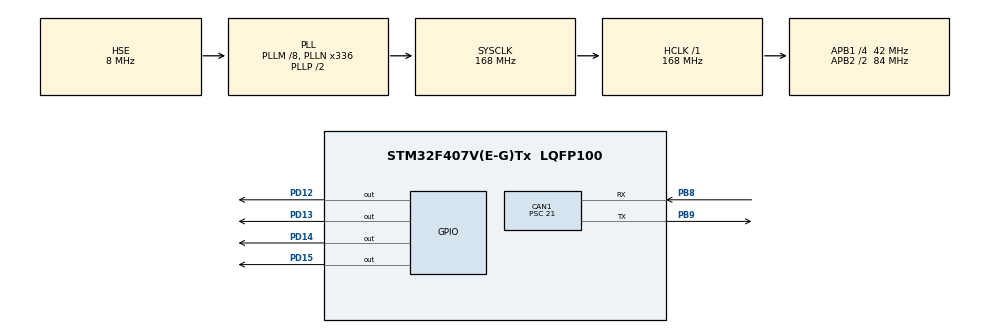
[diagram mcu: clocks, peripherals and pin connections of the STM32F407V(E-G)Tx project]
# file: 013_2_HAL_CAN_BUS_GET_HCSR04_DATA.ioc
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CAN1.BS1=CAN_BS1_10TQ
CAN1.BS2=CAN_BS2_5TQ
CAN1.CalculateBaudRate=125000
CAN1.CalculateTimeBit=8000
CAN1.CalculateTimeQuantum=500.0
CAN1.Prescaler=21
Mcu.Family=STM32F4
Mcu.Name=STM32F407V(E-G)Tx
Mcu.Package=LQFP100
NVIC.CAN1_RX0_IRQn=true\:0\:0\:false\:false\:true\:true\:true\:true
NVIC.PriorityGroup=NVIC_PRIORITYGROUP_0
PA13.Mode=Serial_Wire
PA13.Signal=SYS_JTMS-SWDIO
PA14.Mode=Serial_Wire
PA14.Signal=SYS_JTCK-SWCLK
PB8.Mode=CAN_Activate
PB8.Signal=CAN1_RX
PB9.Mode=CAN_Activate
PB9.Signal=CAN1_TX
PD12.Signal=GPIO_Output
PD13.Signal=GPIO_Output
PD14.Signal=GPIO_Output
PD15.Signal=GPIO_Output
PH0-OSC_IN.Mode=HSE-External-Oscillator
PH0-OSC_IN.Signal=RCC_OSC_IN
PH1-OSC_OUT.Mode=HSE-External-Oscillator
PH1-OSC_OUT.Signal=RCC_OSC_OUT
ProjectManager.HeapSize=0x200
ProjectManager.StackSize=0x400
ProjectManager.TargetToolchain=STM32CubeIDE
RCC.48MHZClocksFreq_Value=48000000
RCC.AHBFreq_Value=168000000
RCC.APB1CLKDivider=RCC_HCLK_DIV4
RCC.APB1Freq_Value=42000000
RCC.APB1TimFreq_Value=84000000
RCC.APB2CLKDivider=RCC_HCLK_DIV2
RCC.APB2Freq_Value=84000000
RCC.APB2TimFreq_Value=168000000
RCC.CortexFreq_Value=168000000
RCC.HCLKFreq_Value=168000000
RCC.HSE_VALUE=8000000
RCC.HSI_VALUE=16000000
RCC.LSE_VALUE=32768
RCC.PLLM=8
RCC.PLLN=336
RCC.PLLQ=7
RCC.PLLSourceVirtual=RCC_PLLSOURCE_HSE
RCC.SYSCLKFreq_VALUE=168000000
RCC.SYSCLKSource=RCC_SYSCLKSOURCE_PLLCLK
RCC.VCOOutputFreq_Value=336000000
board=STM32F407G-DISC1

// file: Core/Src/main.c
/* USER CODE BEGIN Header */
/**
  ******************************************************************************
  * @file           : main.c
  * @brief          : Main program body
  ******************************************************************************
  * @attention
  *
  * Copyright (c) 2024 STMicroelectronics.
  * All rights reserved.
  *
  * This software is licensed under terms that can be found in the LICENSE file
  * in the root directory of this software component.
  * If no LICENSE file comes with this software, it is provided AS-IS.
  *
  ******************************************************************************
  */
/* USER CODE END Header */
#include "main.h"

CAN_HandleTypeDef hcan1;

/* USER CODE BEGIN PV */
CAN_TxHeaderTypeDef pHeader;
CAN_RxHeaderTypeDef pRxHeader;
CAN_FilterTypeDef sFilterConfig;
uint8_t hcsr_data;
/* USER CODE END PV */

void SystemClock_Config(void);
static void MX_GPIO_Init(void);
static void MX_CAN1_Init(void);

int main(void)
{

  /* MCU Configuration--------------------------------------------------------*/

  /* Reset of all peripherals, Initializes the Flash interface and the Systick. */
  HAL_Init();

  /* Configure the system clock */
  SystemClock_Config();

  /* Initialize all configured peripherals */
  MX_GPIO_Init();
  MX_CAN1_Init();
  /* USER CODE BEGIN 2 */
  pHeader.DLC = 1;
  pHeader.IDE = CAN_ID_EXT;
  pHeader.RTR = CAN_RTR_DATA;
  pHeader.ExtId = 0x00000002;

  // Set Filter Parameters
   sFilterConfig.FilterActivation = ENABLE;
   sFilterConfig.FilterBank = 0;
   sFilterConfig.FilterFIFOAssignment = CAN_FILTER_FIFO0;
   sFilterConfig.FilterIdHigh = 0x0AF09876 >> 13;
   sFilterConfig.FilterIdLow = 0x0000;
   sFilterConfig.FilterMaskIdHigh = 0xFFFFFFFF >> 13;
   sFilterConfig.FilterMaskIdLow = 0x0000;
   sFilterConfig.FilterMode = CAN_FILTERMODE_IDMASK;
   sFilterConfig.FilterScale = CAN_FILTERSCALE_32BIT;

   HAL_CAN_ConfigFilter(&hcan1, &sFilterConfig);

  HAL_CAN_Start(&hcan1);
  HAL_CAN_ActivateNotification(&hcan1, CAN_IT_RX_FIFO0_MSG_PENDING);
  /* USER CODE END 2 */

  /* Infinite loop */
  while (1)
  {

    /* USER CODE BEGIN 3 */
	  if(hcsr_data > 6 && hcsr_data < 12)
	  {
		  HAL_GPIO_WritePin(GPIOD, GPIO_PIN_12, GPIO_PIN_SET);
		  HAL_GPIO_WritePin(GPIOD, GPIO_PIN_13 | GPIO_PIN_14 | GPIO_PIN_15 , GPIO_PIN_RESET);
	  }
	  else if(hcsr_data > 12 && hcsr_data < 18)
	  {
		  HAL_GPIO_WritePin(GPIOD, GPIO_PIN_12 | GPIO_PIN_13, GPIO_PIN_SET);
		  HAL_GPIO_WritePin(GPIOD, GPIO_PIN_14 | GPIO_PIN_15 , GPIO_PIN_RESET);
	  }
	  else if(hcsr_data > 18 && hcsr_data < 24)
	  {
		  HAL_GPIO_WritePin(GPIOD, GPIO_PIN_12 | GPIO_PIN_13 | GPIO_PIN_14 , GPIO_PIN_SET);
		  HAL_GPIO_WritePin(GPIOD, GPIO_PIN_15 , GPIO_PIN_RESET);
	  }
	  else if(hcsr_data > 24)
	  {
		  HAL_GPIO_WritePin(GPIOD, GPIO_PIN_12 | GPIO_PIN_13 | GPIO_PIN_14 | GPIO_PIN_15 , GPIO_PIN_SET);
	  }
	  else
		  HAL_GPIO_WritePin(GPIOD, GPIO_PIN_12 | GPIO_PIN_13 | GPIO_PIN_14 | GPIO_PIN_15 , GPIO_PIN_RESET);
  }
  /* USER CODE END 3 */
}

void SystemClock_Config(void)
{
  RCC_OscInitTypeDef RCC_OscInitStruct = {0};
  RCC_ClkInitTypeDef RCC_ClkInitStruct = {0};

  /** Configure the main internal regulator output voltage
  */
  __HAL_RCC_PWR_CLK_ENABLE();
  __HAL_PWR_VOLTAGESCALING_CONFIG(PWR_REGULATOR_VOLTAGE_SCALE1);

  /** Initializes the RCC Oscillators according to the specified parameters
  * in the RCC_OscInitTypeDef structure.
  */
  RCC_OscInitStruct.OscillatorType = RCC_OSCILLATORTYPE_HSE;
  RCC_OscInitStruct.HSEState = RCC_HSE_ON;
  RCC_OscInitStruct.PLL.PLLState = RCC_PLL_ON;
  RCC_OscInitStruct.PLL.PLLSource = RCC_PLLSOURCE_HSE;
  RCC_OscInitStruct.PLL.PLLM = 8;
  RCC_OscInitStruct.PLL.PLLN = 336;
  RCC_OscInitStruct.PLL.PLLP = RCC_PLLP_DIV2;
  RCC_OscInitStruct.PLL.PLLQ = 7;
  if (HAL_RCC_OscConfig(&RCC_OscInitStruct) != HAL_OK)
  {
    Error_Handler();
  }

  /** Initializes the CPU, AHB and APB buses clocks
  */
  RCC_ClkInitStruct.ClockType = RCC_CLOCKTYPE_HCLK|RCC_CLOCKTYPE_SYSCLK
                              |RCC_CLOCKTYPE_PCLK1|RCC_CLOCKTYPE_PCLK2;
  RCC_ClkInitStruct.SYSCLKSource = RCC_SYSCLKSOURCE_PLLCLK;
  RCC_ClkInitStruct.AHBCLKDivider = RCC_SYSCLK_DIV1;
  RCC_ClkInitStruct.APB1CLKDivider = RCC_HCLK_DIV4;
  RCC_ClkInitStruct.APB2CLKDivider = RCC_HCLK_DIV2;

  if (HAL_RCC_ClockConfig(&RCC_ClkInitStruct, FLASH_LATENCY_5) != HAL_OK)
  {
    Error_Handler();
  }
}

static void MX_CAN1_Init(void)
{

  hcan1.Instance = CAN1;
  hcan1.Init.Prescaler = 21;
  hcan1.Init.Mode = CAN_MODE_NORMAL;
  hcan1.Init.SyncJumpWidth = CAN_SJW_1TQ;
  hcan1.Init.TimeSeg1 = CAN_BS1_10TQ;
  hcan1.Init.TimeSeg2 = CAN_BS2_5TQ;
  hcan1.Init.TimeTriggeredMode = DISABLE;
  hcan1.Init.AutoBusOff = DISABLE;
  hcan1.Init.AutoWakeUp = DISABLE;
  hcan1.Init.AutoRetransmission = DISABLE;
  hcan1.Init.ReceiveFifoLocked = DISABLE;
  hcan1.Init.TransmitFifoPriority = DISABLE;
  if (HAL_CAN_Init(&hcan1) != HAL_OK)
  {
    Error_Handler();
  }

}

static void MX_GPIO_Init(void)
{
  GPIO_InitTypeDef GPIO_InitStruct = {0};

  /* GPIO Ports Clock Enable */
  __HAL_RCC_GPIOH_CLK_ENABLE();
  __HAL_RCC_GPIOD_CLK_ENABLE();
  __HAL_RCC_GPIOA_CLK_ENABLE();
  __HAL_RCC_GPIOB_CLK_ENABLE();

  /*Configure GPIO pin Output Level */
  HAL_GPIO_WritePin(GPIOD, GPIO_PIN_12|GPIO_PIN_13|GPIO_PIN_14|GPIO_PIN_15, GPIO_PIN_RESET);

  /*Configure GPIO pins : PD12 PD13 PD14 PD15 */
  GPIO_InitStruct.Pin = GPIO_PIN_12|GPIO_PIN_13|GPIO_PIN_14|GPIO_PIN_15;
  GPIO_InitStruct.Mode = GPIO_MODE_OUTPUT_PP;
  GPIO_InitStruct.Pull = GPIO_NOPULL;
  GPIO_InitStruct.Speed = GPIO_SPEED_FREQ_LOW;
  HAL_GPIO_Init(GPIOD, &GPIO_InitStruct);

}

void Error_Handler(void)
{
  __disable_irq();
  while (1)
  {
  }
}
